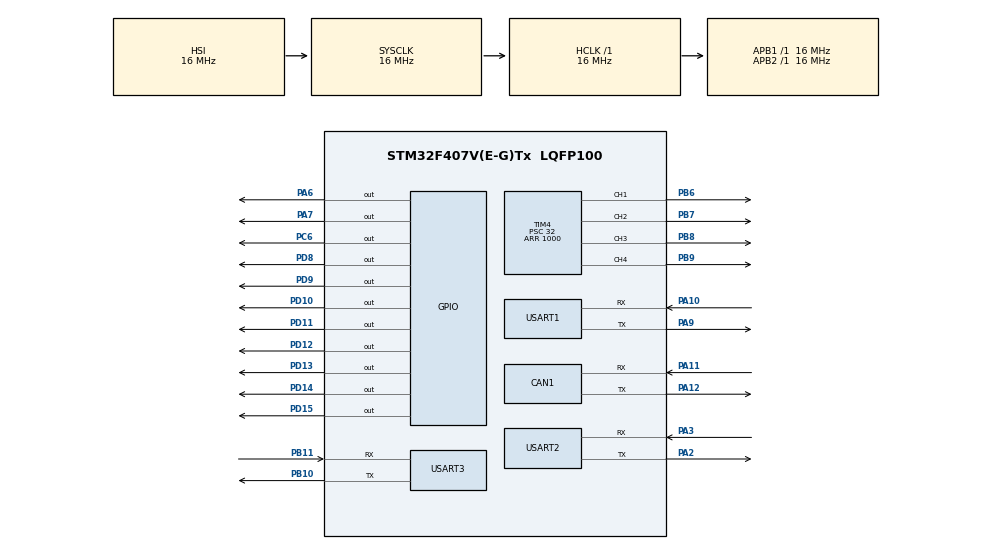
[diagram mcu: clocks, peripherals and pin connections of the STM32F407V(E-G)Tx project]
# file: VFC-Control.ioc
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CAN1.CalculateTimeQuantum=1000.0
Dma.Request0=USART2_RX
Dma.USART2_RX.0.Direction=DMA_PERIPH_TO_MEMORY
Dma.USART2_RX.0.FIFOMode=DMA_FIFOMODE_DISABLE
Dma.USART2_RX.0.Instance=DMA1_Stream5
Dma.USART2_RX.0.MemDataAlignment=DMA_MDATAALIGN_BYTE
Dma.USART2_RX.0.MemInc=DMA_MINC_ENABLE
Dma.USART2_RX.0.Mode=DMA_NORMAL
Dma.USART2_RX.0.PeriphDataAlignment=DMA_PDATAALIGN_BYTE
Dma.USART2_RX.0.PeriphInc=DMA_PINC_DISABLE
Dma.USART2_RX.0.Priority=DMA_PRIORITY_LOW
FREERTOS.BinarySemaphores01=semUARTReady,Dynamic,NULL
FREERTOS.INCLUDE_pcTaskGetTaskName=1
FREERTOS.INCLUDE_uxTaskGetStackHighWaterMark2=1
FREERTOS.INCLUDE_xEventGroupSetBitFromISR=1
FREERTOS.INCLUDE_xSemaphoreGetMutexHolder=1
FREERTOS.INCLUDE_xTaskAbortDelay=1
FREERTOS.INCLUDE_xTaskGetCurrentTaskHandle=1
FREERTOS.INCLUDE_xTaskGetHandle=1
FREERTOS.Tasks01=taskSendMockDat,24,128,StartMockDataTask,Default,NULL,Dynamic,NULL,NULL;taskUpdateTim1,43,128,StartUpdateTim1,Default,NULL,Dynamic,NULL,NULL
FREERTOS.configGENERATE_RUN_TIME_STATS=1
FREERTOS.configUSE_STATS_FORMATTING_FUNCTIONS=1
Mcu.Family=STM32F4
Mcu.Name=STM32F407V(E-G)Tx
Mcu.Package=LQFP100
NVIC.DMA1_Stream5_IRQn=true\:6\:0\:true\:false\:true\:true\:false\:true
NVIC.PriorityGroup=NVIC_PRIORITYGROUP_4
NVIC.TIM2_IRQn=true\:0\:0\:false\:false\:true\:false\:false\:true
NVIC.TimeBase=TIM2_IRQn
NVIC.TimeBaseIP=TIM2
PA10.Mode=Asynchronous
PA10.Signal=USART1_RX
PA11.Mode=Master
PA11.Signal=CAN1_RX
PA12.Mode=Master
PA12.Signal=CAN1_TX
PA2.Mode=Asynchronous
PA2.Signal=USART2_TX
PA3.Mode=Asynchronous
PA3.Signal=USART2_RX
PA6.GPIO_ModeDefaultOutputPP=GPIO_MODE_OUTPUT_PP
PA6.GPIO_PuPd=GPIO_NOPULL
PA6.GPIO_Speed=GPIO_SPEED_FREQ_LOW
PA6.PinState=GPIO_PIN_RESET
PA6.Signal=GPIO_Output
PA7.Signal=GPIO_Output
PA9.Mode=Asynchronous
PA9.Signal=USART1_TX
PB10.Mode=Asynchronous
PB10.Signal=USART3_TX
PB11.Mode=Asynchronous
PB11.Signal=USART3_RX
PB6.Signal=S_TIM4_CH1
PB7.Signal=S_TIM4_CH2
PB8.Signal=S_TIM4_CH3
PB9.Signal=S_TIM4_CH4
PC6.Signal=GPIO_Output
PD10.GPIO_ModeDefaultOutputPP=GPIO_MODE_OUTPUT_PP
PD10.GPIO_PuPd=GPIO_NOPULL
PD10.GPIO_Speed=GPIO_SPEED_FREQ_LOW
PD10.PinState=GPIO_PIN_RESET
PD10.Signal=GPIO_Output
PD11.GPIO_ModeDefaultOutputPP=GPIO_MODE_OUTPUT_PP
PD11.GPIO_PuPd=GPIO_NOPULL
PD11.GPIO_Speed=GPIO_SPEED_FREQ_LOW
PD11.PinState=GPIO_PIN_RESET
PD11.Signal=GPIO_Output
PD12.GPIO_ModeDefaultOutputPP=GPIO_MODE_OUTPUT_PP
PD12.GPIO_PuPd=GPIO_NOPULL
PD12.GPIO_Speed=GPIO_SPEED_FREQ_LOW
PD12.PinState=GPIO_PIN_RESET
PD12.Signal=GPIO_Output
PD13.Signal=GPIO_Output
PD14.GPIO_ModeDefaultOutputPP=GPIO_MODE_OUTPUT_PP
PD14.GPIO_PuPd=GPIO_NOPULL
PD14.GPIO_Speed=GPIO_SPEED_FREQ_LOW
PD14.PinState=GPIO_PIN_RESET
PD14.Signal=GPIO_Output
PD15.GPIO_ModeDefaultOutputPP=GPIO_MODE_OUTPUT_PP
PD15.GPIO_PuPd=GPIO_NOPULL
PD15.GPIO_Speed=GPIO_SPEED_FREQ_LOW
PD15.PinState=GPIO_PIN_RESET
PD15.Signal=GPIO_Output
PD8.GPIO_ModeDefaultOutputPP=GPIO_MODE_OUTPUT_PP
PD8.GPIO_PuPd=GPIO_NOPULL
PD8.GPIO_Speed=GPIO_SPEED_FREQ_LOW
PD8.PinState=GPIO_PIN_RESET
PD8.Signal=GPIO_Output
PD9.GPIO_ModeDefaultOutputPP=GPIO_MODE_OUTPUT_PP
PD9.GPIO_PuPd=GPIO_NOPULL
PD9.GPIO_Speed=GPIO_SPEED_FREQ_LOW
PD9.PinState=GPIO_PIN_RESET
PD9.Signal=GPIO_Output
ProjectManager.HeapSize=0x200
ProjectManager.StackSize=0x400
ProjectManager.TargetToolchain=STM32CubeIDE
RCC.AHBFreq_Value=16000000
RCC.APB1Freq_Value=16000000
RCC.APB2Freq_Value=16000000
RCC.CortexFreq_Value=16000000
RCC.HSE_VALUE=25000000
RCC.HSI_VALUE=16000000
RCC.LSE_VALUE=32768
RCC.SYSCLKFreq_VALUE=16000000
RCC.VCOOutputFreq_Value=192000000
SH.S_TIM4_CH1.0=TIM4_CH1,PWM Generation1 CH1
SH.S_TIM4_CH2.0=TIM4_CH2,PWM Generation2 CH2
SH.S_TIM4_CH3.0=TIM4_CH3,PWM Generation3 CH3
SH.S_TIM4_CH4.0=TIM4_CH4,PWM Generation4 CH4
TIM4.Channel-PWM\ Generation1\ CH1=TIM_CHANNEL_1
TIM4.Channel-PWM\ Generation2\ CH2=TIM_CHANNEL_2
TIM4.Channel-PWM\ Generation3\ CH3=TIM_CHANNEL_3
TIM4.Channel-PWM\ Generation4\ CH4=TIM_CHANNEL_4
TIM4.Period=1000
TIM4.Prescaler=32
TIM4.Pulse-PWM\ Generation1\ CH1=5
USART1.VirtualMode=VM_ASYNC
USART2.VirtualMode=VM_ASYNC
USART3.VirtualMode=VM_ASYNC
VP_FREERTOS_VS_CMSIS_V2.Mode=CMSIS_V2
VP_SYS_VS_tim2.Mode=TIM2
board=custom

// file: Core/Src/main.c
/* USER CODE BEGIN Header */
/**
  ******************************************************************************
  * @file           : main.c
  * @brief          : Main program body
  ******************************************************************************
  * @attention
  *
  * <h2><center>&copy; Copyright (c) 2021 STMicroelectronics.
  * All rights reserved.</center></h2>
  *
  * This software component is licensed by ST under BSD 3-Clause license,
  * the "License"; You may not use this file except in compliance with the
  * License. You may obtain a copy of the License at:
  *                        opensource.org/licenses/BSD-3-Clause
  *
  ******************************************************************************
  */
/* USER CODE END Header */
#include "main.h"
#include "cmsis_os.h"

/* USER CODE BEGIN Includes */
#include <SEGGER_SYSVIEW.h>
/* USER CODE END Includes */

CAN_HandleTypeDef hcan1;

TIM_HandleTypeDef htim4;

UART_HandleTypeDef huart1;
UART_HandleTypeDef huart2;
UART_HandleTypeDef huart3;
DMA_HandleTypeDef hdma_usart2_rx;

/* Definitions for taskSendMockDat */
osThreadId_t taskSendMockDatHandle;
const osThreadAttr_t taskSendMockDat_attributes = {
  .name = "taskSendMockDat",
  .priority = (osPriority_t) osPriorityNormal,
  .stack_size = 128 * 4
};
/* Definitions for taskUpdateTim1 */
osThreadId_t taskUpdateTim1Handle;
const osThreadAttr_t taskUpdateTim1_attributes = {
  .name = "taskUpdateTim1",
  .priority = (osPriority_t) osPriorityHigh3,
  .stack_size = 128 * 4
};
/* Definitions for semUARTReady */
osSemaphoreId_t semUARTReadyHandle;
const osSemaphoreAttr_t semUARTReady_attributes = {
  .name = "semUARTReady"
};
/* USER CODE BEGIN PV */
uint8_t rxBuffer[4] = {0};
/* USER CODE END PV */

void SystemClock_Config(void);
static void MX_GPIO_Init(void);
static void MX_DMA_Init(void);
static void MX_CAN1_Init(void);
static void MX_USART1_UART_Init(void);
static void MX_USART2_UART_Init(void);
static void MX_USART3_UART_Init(void);
static void MX_TIM4_Init(void);
void StartMockDataTask(void *argument);
void StartUpdateTim1(void *argument);

/* USER CODE BEGIN PFP */
void setPWM(TIM_HandleTypeDef timer, uint32_t channel, uint16_t period, uint16_t pulse)
{
 HAL_TIM_PWM_Stop(&timer, channel); // stop generation of pwm
 TIM_OC_InitTypeDef sConfigOC;
 timer.Init.Period = period; // set the period duration
 HAL_TIM_PWM_Init(&timer); // reinititialise with new period value
 sConfigOC.OCMode = TIM_OCMODE_PWM1;
 sConfigOC.Pulse = pulse; // set the pulse duration
 sConfigOC.OCPolarity = TIM_OCPOLARITY_HIGH;
 sConfigOC.OCFastMode = TIM_OCFAST_DISABLE;
 HAL_TIM_PWM_ConfigChannel(&timer, &sConfigOC, channel);
 HAL_TIM_PWM_Start(&timer, channel);
}
/* USER CODE END PFP */

/* USER CODE BEGIN 0 */
void Reset_UART1(){
	uint8_t testBuf[16] = {0};
	HAL_UART_Receive_DMA(&huart1, rxBuffer, sizeof(rxBuffer));
}
void Reset_UART2(){
	uint8_t testBuf[16] = {0};
	HAL_UART_Receive_DMA(&huart2, rxBuffer, sizeof(rxBuffer));
}
void OnMessage(){

	osSemaphoreRelease(semUARTReadyHandle);
}
/* USER CODE END 0 */

int main(void)
{

  /* MCU Configuration--------------------------------------------------------*/

  /* Reset of all peripherals, Initializes the Flash interface and the Systick. */
  HAL_Init();

  /* Configure the system clock */
  SystemClock_Config();

  /* USER CODE BEGIN SysInit */
  SEGGER_SYSVIEW_Conf();

  /* USER CODE END SysInit */

  /* Initialize all configured peripherals */
  MX_GPIO_Init();
  MX_DMA_Init();
  MX_CAN1_Init();
  MX_USART1_UART_Init();
  MX_USART2_UART_Init();
  MX_USART3_UART_Init();
  MX_TIM4_Init();
  /* USER CODE BEGIN 2 */

  //HAL_TIM_PWM_Start(&htim4, TIM_CHANNEL_2);
 // Reset_UART1();
  Reset_UART2();
  HAL_TIM_PWM_Start(&htim4, TIM_CHANNEL_1);
  HAL_TIM_PWM_Start(&htim4, TIM_CHANNEL_2);
  HAL_TIM_PWM_Start(&htim4, TIM_CHANNEL_3);
  HAL_TIM_PWM_Start(&htim4, TIM_CHANNEL_4);
  HAL_GPIO_WritePin(GPIOA, GPIO_PIN_6,GPIO_PIN_RESET);

  /* USER CODE END 2 */

  /* Init scheduler */
  osKernelInitialize();

  /* Create the semaphores(s) */
  /* creation of semUARTReady */
  semUARTReadyHandle = osSemaphoreNew(1, 1, &semUARTReady_attributes);

  /* Create the thread(s) */
  /* creation of taskSendMockDat */
  taskSendMockDatHandle = osThreadNew(StartMockDataTask, NULL, &taskSendMockDat_attributes);

  /* creation of taskUpdateTim1 */
  taskUpdateTim1Handle = osThreadNew(StartUpdateTim1, NULL, &taskUpdateTim1_attributes);

  /* Start scheduler */
  osKernelStart();

  /* We should never get here as control is now taken by the scheduler */
  /* Infinite loop */
  while (1)
  {

  }
}

void SystemClock_Config(void)
{
  RCC_OscInitTypeDef RCC_OscInitStruct = {0};
  RCC_ClkInitTypeDef RCC_ClkInitStruct = {0};

  /** Configure the main internal regulator output voltage
  */
  __HAL_RCC_PWR_CLK_ENABLE();
  __HAL_PWR_VOLTAGESCALING_CONFIG(PWR_REGULATOR_VOLTAGE_SCALE1);
  /** Initializes the RCC Oscillators according to the specified parameters
  * in the RCC_OscInitTypeDef structure.
  */
  RCC_OscInitStruct.OscillatorType = RCC_OSCILLATORTYPE_HSI;
  RCC_OscInitStruct.HSIState = RCC_HSI_ON;
  RCC_OscInitStruct.HSICalibrationValue = RCC_HSICALIBRATION_DEFAULT;
  RCC_OscInitStruct.PLL.PLLState = RCC_PLL_NONE;
  if (HAL_RCC_OscConfig(&RCC_OscInitStruct) != HAL_OK)
  {
    Error_Handler();
  }
  /** Initializes the CPU, AHB and APB buses clocks
  */
  RCC_ClkInitStruct.ClockType = RCC_CLOCKTYPE_HCLK|RCC_CLOCKTYPE_SYSCLK
                              |RCC_CLOCKTYPE_PCLK1|RCC_CLOCKTYPE_PCLK2;
  RCC_ClkInitStruct.SYSCLKSource = RCC_SYSCLKSOURCE_HSI;
  RCC_ClkInitStruct.AHBCLKDivider = RCC_SYSCLK_DIV1;
  RCC_ClkInitStruct.APB1CLKDivider = RCC_HCLK_DIV1;
  RCC_ClkInitStruct.APB2CLKDivider = RCC_HCLK_DIV1;

  if (HAL_RCC_ClockConfig(&RCC_ClkInitStruct, FLASH_LATENCY_0) != HAL_OK)
  {
    Error_Handler();
  }
}

static void MX_CAN1_Init(void)
{

  hcan1.Instance = CAN1;
  hcan1.Init.Prescaler = 16;
  hcan1.Init.Mode = CAN_MODE_NORMAL;
  hcan1.Init.SyncJumpWidth = CAN_SJW_1TQ;
  hcan1.Init.TimeSeg1 = CAN_BS1_1TQ;
  hcan1.Init.TimeSeg2 = CAN_BS2_1TQ;
  hcan1.Init.TimeTriggeredMode = DISABLE;
  hcan1.Init.AutoBusOff = DISABLE;
  hcan1.Init.AutoWakeUp = DISABLE;
  hcan1.Init.AutoRetransmission = DISABLE;
  hcan1.Init.ReceiveFifoLocked = DISABLE;
  hcan1.Init.TransmitFifoPriority = DISABLE;
  if (HAL_CAN_Init(&hcan1) != HAL_OK)
  {
    Error_Handler();
  }

}

static void MX_TIM4_Init(void)
{

  TIM_MasterConfigTypeDef sMasterConfig = {0};
  TIM_OC_InitTypeDef sConfigOC = {0};

  htim4.Instance = TIM4;
  htim4.Init.Prescaler = 16;
  htim4.Init.CounterMode = TIM_COUNTERMODE_UP;
  htim4.Init.Period = 1024;
  htim4.Init.ClockDivision = TIM_CLOCKDIVISION_DIV1;
  htim4.Init.AutoReloadPreload = TIM_AUTORELOAD_PRELOAD_DISABLE;
  if (HAL_TIM_PWM_Init(&htim4) != HAL_OK)
  {
    Error_Handler();
  }
  sMasterConfig.MasterOutputTrigger = TIM_TRGO_RESET;
  sMasterConfig.MasterSlaveMode = TIM_MASTERSLAVEMODE_DISABLE;
  if (HAL_TIMEx_MasterConfigSynchronization(&htim4, &sMasterConfig) != HAL_OK)
  {
    Error_Handler();
  }
  sConfigOC.OCMode = TIM_OCMODE_PWM1;
  sConfigOC.Pulse = 10;
  sConfigOC.OCPolarity = TIM_OCPOLARITY_HIGH;
  sConfigOC.OCFastMode = TIM_OCFAST_DISABLE;
  if (HAL_TIM_PWM_ConfigChannel(&htim4, &sConfigOC, TIM_CHANNEL_1) != HAL_OK)
  {
    Error_Handler();
  }
  sConfigOC.Pulse = 0;
  if (HAL_TIM_PWM_ConfigChannel(&htim4, &sConfigOC, TIM_CHANNEL_2) != HAL_OK)
  {
    Error_Handler();
  }
  if (HAL_TIM_PWM_ConfigChannel(&htim4, &sConfigOC, TIM_CHANNEL_3) != HAL_OK)
  {
    Error_Handler();
  }
  if (HAL_TIM_PWM_ConfigChannel(&htim4, &sConfigOC, TIM_CHANNEL_4) != HAL_OK)
  {
    Error_Handler();
  }
  HAL_TIM_MspPostInit(&htim4);

}

static void MX_USART1_UART_Init(void)
{

  huart1.Instance = USART1;
  huart1.Init.BaudRate = 115200;
  huart1.Init.WordLength = UART_WORDLENGTH_8B;
  huart1.Init.StopBits = UART_STOPBITS_1;
  huart1.Init.Parity = UART_PARITY_NONE;
  huart1.Init.Mode = UART_MODE_TX_RX;
  huart1.Init.HwFlowCtl = UART_HWCONTROL_NONE;
  huart1.Init.OverSampling = UART_OVERSAMPLING_16;
  if (HAL_UART_Init(&huart1) != HAL_OK)
  {
    Error_Handler();
  }

}

static void MX_USART2_UART_Init(void)
{

  huart2.Instance = USART2;
  huart2.Init.BaudRate = 115200;
  huart2.Init.WordLength = UART_WORDLENGTH_8B;
  huart2.Init.StopBits = UART_STOPBITS_1;
  huart2.Init.Parity = UART_PARITY_NONE;
  huart2.Init.Mode = UART_MODE_TX_RX;
  huart2.Init.HwFlowCtl = UART_HWCONTROL_NONE;
  huart2.Init.OverSampling = UART_OVERSAMPLING_16;
  if (HAL_UART_Init(&huart2) != HAL_OK)
  {
    Error_Handler();
  }

}

static void MX_USART3_UART_Init(void)
{

  huart3.Instance = USART3;
  huart3.Init.BaudRate = 115200;
  huart3.Init.WordLength = UART_WORDLENGTH_8B;
  huart3.Init.StopBits = UART_STOPBITS_1;
  huart3.Init.Parity = UART_PARITY_NONE;
  huart3.Init.Mode = UART_MODE_TX_RX;
  huart3.Init.HwFlowCtl = UART_HWCONTROL_NONE;
  huart3.Init.OverSampling = UART_OVERSAMPLING_16;
  if (HAL_UART_Init(&huart3) != HAL_OK)
  {
    Error_Handler();
  }

}

static void MX_DMA_Init(void)
{

  /* DMA controller clock enable */
  __HAL_RCC_DMA1_CLK_ENABLE();

  /* DMA interrupt init */
  /* DMA1_Stream5_IRQn interrupt configuration */
  HAL_NVIC_SetPriority(DMA1_Stream5_IRQn, 6, 0);
  HAL_NVIC_EnableIRQ(DMA1_Stream5_IRQn);

}

static void MX_GPIO_Init(void)
{
  GPIO_InitTypeDef GPIO_InitStruct = {0};

  /* GPIO Ports Clock Enable */
  __HAL_RCC_GPIOA_CLK_ENABLE();
  __HAL_RCC_GPIOB_CLK_ENABLE();
  __HAL_RCC_GPIOD_CLK_ENABLE();
  __HAL_RCC_GPIOC_CLK_ENABLE();

  /*Configure GPIO pin Output Level */
  HAL_GPIO_WritePin(GPIOA, GPIO_PIN_6|GPIO_PIN_7, GPIO_PIN_RESET);

  /*Configure GPIO pin Output Level */
  HAL_GPIO_WritePin(GPIOD, GPIO_PIN_8|GPIO_PIN_9|GPIO_PIN_10|GPIO_PIN_11
                          |GPIO_PIN_12|GPIO_PIN_13|GPIO_PIN_14|GPIO_PIN_15, GPIO_PIN_RESET);

  /*Configure GPIO pin Output Level */
  HAL_GPIO_WritePin(GPIOC, GPIO_PIN_6, GPIO_PIN_RESET);

  /*Configure GPIO pins : PA6 PA7 */
  GPIO_InitStruct.Pin = GPIO_PIN_6|GPIO_PIN_7;
  GPIO_InitStruct.Mode = GPIO_MODE_OUTPUT_PP;
  GPIO_InitStruct.Pull = GPIO_NOPULL;
  GPIO_InitStruct.Speed = GPIO_SPEED_FREQ_LOW;
  HAL_GPIO_Init(GPIOA, &GPIO_InitStruct);

  /*Configure GPIO pins : PD8 PD9 PD10 PD11
                           PD12 PD13 PD14 PD15 */
  GPIO_InitStruct.Pin = GPIO_PIN_8|GPIO_PIN_9|GPIO_PIN_10|GPIO_PIN_11
                          |GPIO_PIN_12|GPIO_PIN_13|GPIO_PIN_14|GPIO_PIN_15;
  GPIO_InitStruct.Mode = GPIO_MODE_OUTPUT_PP;
  GPIO_InitStruct.Pull = GPIO_NOPULL;
  GPIO_InitStruct.Speed = GPIO_SPEED_FREQ_LOW;
  HAL_GPIO_Init(GPIOD, &GPIO_InitStruct);

  /*Configure GPIO pin : PC6 */
  GPIO_InitStruct.Pin = GPIO_PIN_6;
  GPIO_InitStruct.Mode = GPIO_MODE_OUTPUT_PP;
  GPIO_InitStruct.Pull = GPIO_NOPULL;
  GPIO_InitStruct.Speed = GPIO_SPEED_FREQ_LOW;
  HAL_GPIO_Init(GPIOC, &GPIO_InitStruct);

}

void StartMockDataTask(void *argument)
{
  /* USER CODE BEGIN 5 */

  /* Infinite loop */
  for(;;)
  {

    osDelay(500);

  }
  /* USER CODE END 5 */
}

void StartUpdateTim1(void *argument)
{
  /* USER CODE BEGIN StartUpdateTim1 */

  /* Infinite loop */

  for(;;)
  {

	  if(osSemaphoreAcquire(semUARTReadyHandle, 2000) == osOK){
		  uint16_t pwm1 = rxBuffer[0] * 4;
		  uint16_t pwm2 = rxBuffer[1] * 4;
		  uint16_t pwm3 = rxBuffer[2] * 4;
		  uint16_t pwm4 = rxBuffer[3] * 4;
		  SEGGER_SYSVIEW_Print("Updating Timer 1: ");
		 // HAL_UART_Transmit(&huart2, &pwm1, 1, 10);
		  __HAL_TIM_SET_COMPARE(&htim4,TIM_CHANNEL_1, pwm1);
		  __HAL_TIM_SET_COMPARE(&htim4,TIM_CHANNEL_2, pwm2);
		  __HAL_TIM_SET_COMPARE(&htim4,TIM_CHANNEL_3, pwm3);
		  __HAL_TIM_SET_COMPARE(&htim4,TIM_CHANNEL_4, pwm4);
	  }else{
		  osDelay(500);
	  }

	 // __HAL_TIM_SET_COMPARE(&htim1,TIM_CHANNEL_1, pwm1);
	 // __HAL_TIM_SET_COMPARE(&htim1,TIM_CHANNEL_2, pwm2);

  }
  /* USER CODE END StartUpdateTim1 */
}

void HAL_TIM_PeriodElapsedCallback(TIM_HandleTypeDef *htim)
{
  if (htim->Instance == TIM2) {
    HAL_IncTick();
  }
}

void Error_Handler(void)
{
  /* USER CODE BEGIN Error_Handler_Debug */
  /* User can add his own implementation to report the HAL error return state */
	SEGGER_SYSVIEW_Print("Error_handler");
  /* USER CODE END Error_Handler_Debug */
}

/************************ (C) COPYRIGHT STMicroelectronics *****END OF FILE****/
